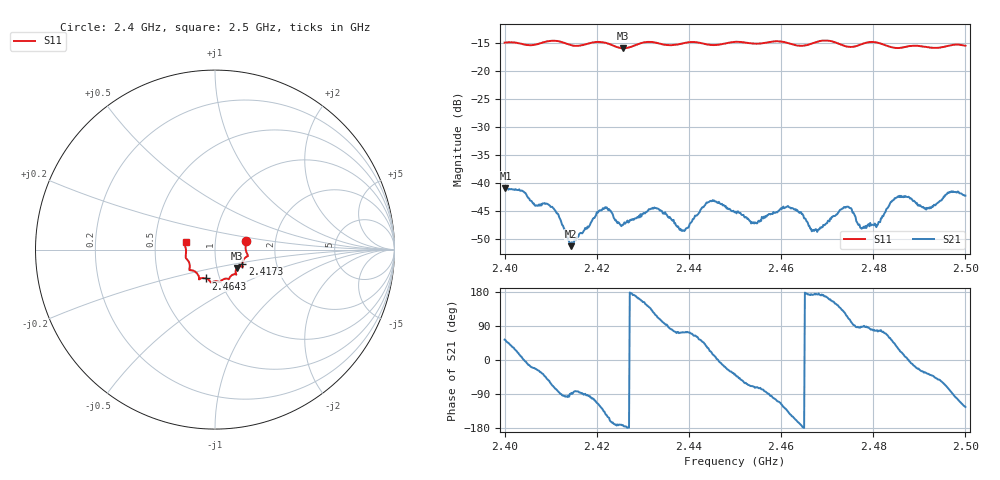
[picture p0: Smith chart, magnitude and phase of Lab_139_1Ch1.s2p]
# Hz S RI R 50
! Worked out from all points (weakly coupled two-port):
!   601 points, 2.4 GHz to 2.5 GHz, reference 50 ohm
!   highest |S21| = -40.90 dB at 2.4002 GHz (marker M1); lowest = -51.3 dB at 2.4143 GHz (marker M2)
!   lowest |S11| = -15.9 dB at 2.4257 GHz (marker M3), VSWR 1.38, Z = 62.5 - j13.1 ohm
!   |S11| at or under -10 dB: start of sweep to end of sweep
!   S12 and S22 are empty: the file has one direction only
!   S11 on the Smith chart (normalised r, x): 2.4 GHz: 1.41, +0.14; 2.4173 GHz: 1.34, -0.23; 2.4643 GHz: 0.86, -0.28; 2.5 GHz: 0.72, +0.06
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2.4e9  0.1735 0.0487  0.00532 0.00726  0 0  0 0
2.400167e9  0.174 0.048  0.00545 0.00718  0 0  0 0
2.410167e9  0.1838 -0.0338  0.00266 -0.00553  0 0  0 0
2.414333e9  0.164 -0.0495  1.33e-05 -0.00274  0 0  0 0
2.416667e9  0.153 -0.0745  0.000116 -0.00358  0 0  0 0
2.417333e9  0.1522 -0.082  -2.31e-05 -0.00382  0 0  0 0
2.421833e9  0.1521 -0.0956  -0.00477 -0.00381  0 0  0 0
2.425667e9  0.123 -0.1025  -0.00417 -0.000611  0 0  0 0
2.433333e9  0.1127 -0.1373  -0.00214 0.0055  0 0  0 0
2.438667e9  0.0809 -0.1579  0.00109 0.00365  0 0  0 0
2.444667e9  0.0584 -0.1617  0.0064 0.00271  0 0  0 0
2.45e9  0.0283 -0.1808  0.00435 -0.00334  0 0  0 0
2.454333e9  0.00751 -0.1761  0.00128 -0.00428  0 0  0 0
2.461e9  -0.0266 -0.1788  -0.00383 -0.00475  0 0  0 0
2.464333e9  -0.0502 -0.1608  -0.00544 -0.000802  0 0  0 0
2.466667e9  -0.0763 -0.1591  -0.00368 0.000474  0 0  0 0
2.474167e9  -0.0987 -0.1342  -0.00281 0.00547  0 0  0 0
2.477333e9  -0.1294 -0.1154  0.000143 0.00397  0 0  0 0
2.4805e9  -0.1431 -0.1114  0.000936 0.00418  0 0  0 0
2.483333e9  -0.1405 -0.0899  0.003 0.00543  0 0  0 0
2.4855e9  -0.1467 -0.0669  0.00663 0.00359  0 0  0 0
2.5e9  -0.1633 0.0426  -0.00433 -0.00641  0 0  0 0
